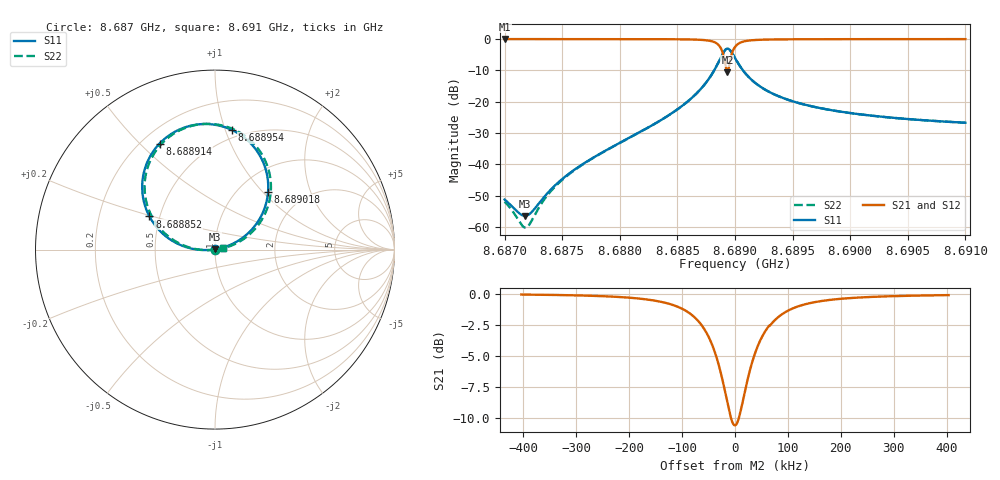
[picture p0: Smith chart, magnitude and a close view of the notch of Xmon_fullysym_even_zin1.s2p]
! Sonnet Data File
! From: emgraph Version : 16.52
! From Emgraph Data: 171117_Xmon_fullysym
! Data File Written: 11/17/2017 15:37:02
!< HDATE 11/17/2017 11:31:43
!< MDATE 11/17/2017 11:31:43
!< PARAMS
!< Lj = 11.0
!< Gap = 6.0
!< Pwid = 2000.0
!< Width = 10.0
!< END PARAMS
# GHZ S MA R 50.90000
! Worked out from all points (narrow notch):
!   2598 points, 8.687 GHz to 8.691 GHz, reference 50.9 ohm
!   highest |S21| = 0.00 dB at 8.687 GHz (marker M1); lowest = -10.6 dB at 8.688934 GHz (marker M2)
!   notch at M2: 10.5 dB deep, 67.4 kHz wide at half that depth
!   lowest |S11| = -56.5 dB at 8.687178 GHz (marker M3), VSWR 1.00, Z = 50.9 + j0.15 ohm
!   |S11| at or under -10 dB: start of sweep to 8.688819 GHz; 8.689069 GHz to end of sweep
!   |S22| runs from -60.3 to -3.1 dB; largest |S21 - S12| = 3e-12
!   S11 on the Smith chart (normalised r, x): 8.687 GHz: 1.00, +0.00; 8.688852 GHz: 0.44, +0.19; 8.688914 GHz: 0.27, +0.57; 8.688954 GHz: 0.43, +1.05; 8.689018 GHz: 1.35, +1.08; 8.691 GHz: 1.09, +0.03
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8.687  0.002727 42.4  0.9998 -80.9  0.9998 -80.9  0.002523 -15.8
!< P1 F=8.687 Eeff=(6.44683727 -2.9786e-5) Z0=(51.7993601 1.19075e-4) R=0.0 C=0.0
!< P2 F=8.687 Eeff=(6.44683727 -2.9786e-5) Z0=(51.7993601 1.19075e-4) R=0.0 C=0.0
8.687178  0.001496 99.4  0.9997 -81.0  0.9997 -81.0  0.00097 -81.1
8.687236  0.001727 128.8  0.9997 -81.1  0.9997 -81.1  0.001263 -123.4
8.687326  0.002748 155.7  0.9997 -81.2  0.9997 -81.2  0.00245 -150.3
8.687416  0.004193 167.7  0.9996 -81.3  0.9996 -81.3  0.003981 -159.6
8.687668  0.009763 179.3  0.9994 -81.6  0.9994 -81.6  0.009635 -168.4
8.688334  0.04785 -176.8  0.9966 -83.8  0.9966 -83.8  0.04774 -176.1
8.688658  0.1309 177.5  0.9811 -88.5  0.9811 -88.5  0.1307 176.3
8.688784  0.2482 167.9  0.9362 -95.3  0.9362 -95.3  0.2479 166.2
8.688852  0.4095 153.2  0.8229 -104.5  0.8229 -104.5  0.409 151.1
8.688888  0.5567 136.5  0.6444 -112.0  0.6444 -112.0  0.5561 134.4
8.688914  0.6667 117.6  0.4161 -109.9  0.4161 -109.9  0.666 115.4
8.688934  0.7039 99.6  0.2965 -80.0  0.2965 -80.0  0.7032 97.4
8.688954  0.6733 81.9  0.4172 -50.9  0.4172 -50.9  0.6726 79.6
8.688974  0.5992 67.3  0.5936 -47.9  0.5936 -47.9  0.5986 64.9
8.689  0.5004 54.3  0.7442 -52.2  0.7442 -52.2  0.4999 51.8
8.689018  0.4384 47.6  0.8127 -55.7  0.8127 -55.7  0.4379 45.0
8.689104  0.2648 31.3  0.9385 -65.8  0.9385 -65.8  0.2646 28.5
8.689256  0.1577 22.4  0.9799 -72.0  0.9799 -72.0  0.1576 19.2
8.689668  0.08411 16.8  0.995 -76.2  0.995 -76.2  0.08407 12.8
8.690334  0.05604 15.0  0.998 -77.9  0.998 -77.9  0.05602 10.2
8.691  0.04601 14.5  0.9987 -78.4  0.9987 -78.4  0.046 9.1
